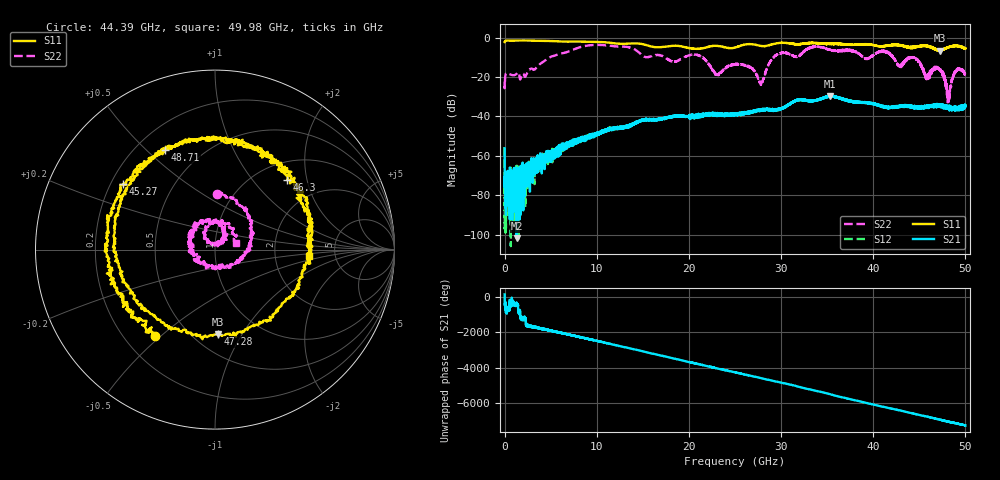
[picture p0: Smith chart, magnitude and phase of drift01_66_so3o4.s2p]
!Created with skrf (http://scikit-rf.org).
# Hz S RI R 50.0
!freq ReS11 ImS11 ReS21 ImS21 ReS12 ImS12 ReS22 ImS22
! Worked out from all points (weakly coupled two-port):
!   10001 points, 300 kHz to 50 GHz, reference 50 ohm
!   highest |S21| = -29.54 dB at 35.34 GHz (marker M1); lowest = -101.9 dB at 1.305 GHz (marker M2)
!   lowest |S11| = -6.6 dB at 47.28 GHz (marker M3), VSWR 2.77, Z = 32.8 - j39.5 ohm
!   |S11| at or under -10 dB: nowhere
!   |S22| runs from -32.8 to -3.6 dB; largest |S21 - S12| = 0.0038
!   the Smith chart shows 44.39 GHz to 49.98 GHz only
!   S11 on the Smith chart (normalised r, x): 44.39 GHz: 0.32, -0.48; 45.27 GHz: 0.25, +0.30; 46.3 GHz: 1.36, +1.52; 47.28 GHz: 0.66, -0.79; 48.71 GHz: 0.32, +0.57; 49.98 GHz: 3.20, -0.31
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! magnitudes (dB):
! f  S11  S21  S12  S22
! 300 kHz  -2.1  -56.2  -55.5  -22.4
! 255.3 MHz  -1.4  -80.7  -89.5  -18.0
! 1.305 GHz  -1.4  -101.9  -83.4  -18.3
! 8.335 GHz  -1.9  -51.2  -51.6  -4.6
! 16.67 GHz  -4.8  -41.6  -41.3  -8.7
! 20.97 GHz  -5.6  -39.2  -40.1  -8.8
! 23.08 GHz  -4.1  -38.6  -38.9  -18.8
! 25 GHz  -5.0  -39.4  -38.8  -13.6
! 27.85 GHz  -4.2  -36.9  -36.4  -23.2
! 29.46 GHz  -2.9  -36.8  -36.5  -8.9
! 33.34 GHz  -2.6  -32.1  -32.0  -4.7
! 35.34 GHz  -3.1  -29.5  -29.8  -6.2
! 41.67 GHz  -3.9  -35.4  -35.1  -8.0
! 42.85 GHz  -3.8  -34.9  -35.0  -14.6
! 44.39 GHz  -4.6  -35.1  -35.4  -10.1
! 45.27 GHz  -4.0  -35.5  -35.3  -14.7
! 46.3 GHz  -5.1  -34.9  -34.4  -17.3
! 47.28 GHz  -6.6  -34.5  -34.3  -16.4
! 48.13 GHz  -4.8  -34.7  -35.6  -29.0
! 48.71 GHz  -4.1  -36.1  -35.2  -19.1
! 49.98 GHz  -5.6  -34.6  -34.6  -18.0
! 50 GHz  -5.3  -34.7  -34.6  -18.1
